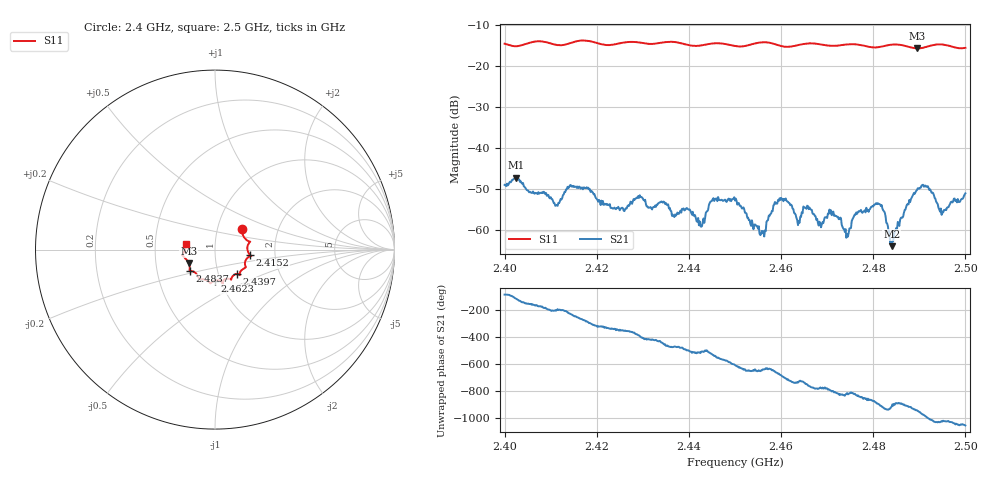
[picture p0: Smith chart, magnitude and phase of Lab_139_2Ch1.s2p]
# Hz S RI R 50
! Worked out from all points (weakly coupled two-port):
!   601 points, 2.4 GHz to 2.5 GHz, reference 50 ohm
!   highest |S21| = -47.25 dB at 2.4025 GHz (marker M1); lowest = -64.0 dB at 2.484 GHz (marker M2)
!   lowest |S11| = -15.7 dB at 2.4895 GHz (marker M3), VSWR 1.39, Z = 36.9 - j5.72 ohm
!   |S11| at or under -10 dB: start of sweep to end of sweep
!   S12 and S22 are empty: the file has one direction only
!   S11 on the Smith chart (normalised r, x): 2.4 GHz: 1.31, +0.31; 2.4152 GHz: 1.48, -0.09; 2.4397 GHz: 1.22, -0.34; 2.4623 GHz: 0.94, -0.34; 2.4837 GHz: 0.74, -0.18; 2.5 GHz: 0.72, +0.05
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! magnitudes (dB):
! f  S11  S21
! 2.4 GHz  -14.5  -49.0
! 2.4025 GHz  -15.1  -47.2
! 2.4112 GHz  -14.8  -54.0
! 2.4152 GHz  -14.1  -49.5
! 2.4167 GHz  -13.7  -49.7
! 2.4333 GHz  -14.4  -53.5
! 2.4397 GHz  -14.8  -54.8
! 2.4427 GHz  -14.9  -59.2
! 2.4452 GHz  -14.5  -52.5
! 2.45 GHz  -15.1  -52.8
! 2.4558 GHz  -14.2  -60.3
! 2.4592 GHz  -14.8  -53.6
! 2.4623 GHz  -15.2  -54.1
! 2.4667 GHz  -14.4  -55.1
! 2.4743 GHz  -14.7  -61.0
! 2.481 GHz  -15.4  -53.5
! 2.4833 GHz  -14.8  -60.4
! 2.4837 GHz  -14.8  -63.2
! 2.484 GHz  -14.7  -64.0
! 2.4895 GHz  -15.7  -50.3
! 2.495 GHz  -14.7  -55.5
! 2.5 GHz  -15.5  -51.1
